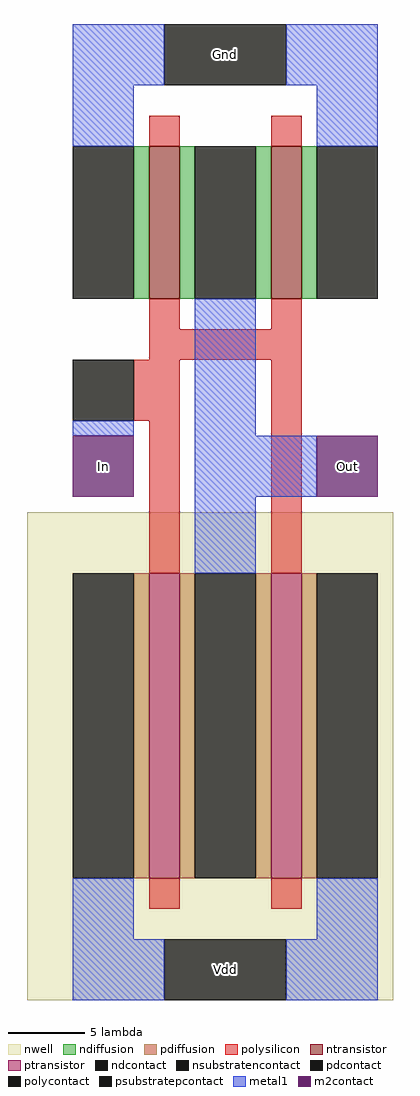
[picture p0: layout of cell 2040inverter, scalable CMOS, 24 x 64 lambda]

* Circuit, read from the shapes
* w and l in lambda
.subckt 2040inverter Gnd In Out Vdd
M1 Out In Gnd Gnd nfet w=10 l=2 m=2
M2 Out In Vdd Vdd pfet w=20 l=2 m=2
.ends

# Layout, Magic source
magic
tech scmos
<< nwell >>
rect -10 -10 14 22
<< polysilicon >>
rect -2 46 0 48
rect 6 46 8 48
rect -2 34 0 36
rect 6 34 8 36
rect -2 32 8 34
rect -3 28 0 32
rect -2 18 0 28
rect 6 18 8 32
rect -2 -4 0 -2
rect 6 -4 8 -2
<< ndiffusion >>
rect -3 36 -2 46
rect 0 36 1 46
rect 5 36 6 46
rect 8 36 9 46
<< pdiffusion >>
rect -3 -2 -2 18
rect 0 -2 1 18
rect 5 -2 6 18
rect 8 -2 9 18
<< metal1 >>
rect -7 50 -1 54
rect 7 50 13 54
rect -7 46 -3 50
rect 9 46 13 50
rect -7 27 -3 28
rect 1 27 5 36
rect 1 23 9 27
rect 1 18 5 23
rect -7 -6 -3 -2
rect 9 -6 13 -2
rect -7 -10 -1 -6
rect 7 -10 13 -6
<< ntransistor >>
rect -2 36 0 46
rect 6 36 8 46
<< ptransistor >>
rect -2 -2 0 18
rect 6 -2 8 18
<< polycontact >>
rect -7 28 -3 32
<< ndcontact >>
rect -7 36 -3 46
rect 1 36 5 46
rect 9 36 13 46
<< pdcontact >>
rect -7 -2 -3 18
rect 1 -2 5 18
rect 9 -2 13 18
<< m2contact >>
rect -7 23 -3 27
rect 9 23 13 27
<< psubstratepcontact >>
rect -1 50 7 54
<< nsubstratencontact >>
rect -1 -10 7 -6
<< labels >>
rlabel m2contact -5 25 -5 25 3 In
rlabel psubstratepcontact 3 52 3 52 5 Gnd
rlabel nsubstratencontact 3 -8 3 -8 1 Vdd
rlabel m2contact 11 25 11 25 7 Out
<< end >>
